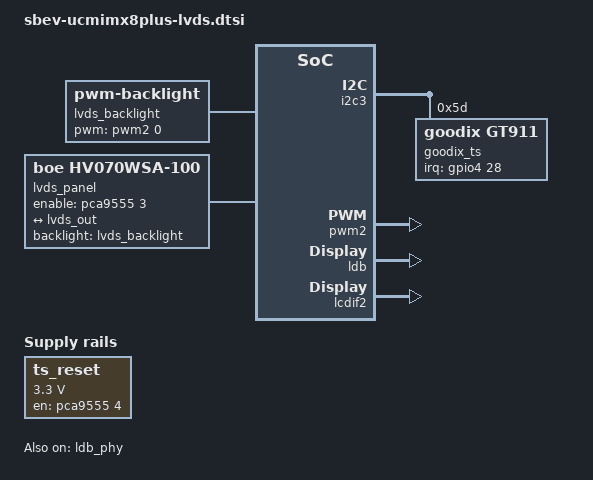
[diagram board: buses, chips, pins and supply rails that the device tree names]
// SPDX-License-Identifier: (GPL-2.0+ OR MIT)
/*
 * Copyright 2024 CompuLab LTD.
 */

&{/} {
	lvds_backlight: lvds_backlight {
		compatible = "pwm-backlight";
		pwms = <&pwm2 0 300000 0>;
		brightness-levels = <96 255>;
		num-interpolated-steps = <12>;
		default-brightness-level = <10>;
		status = "okay";
	};

	lvds_panel: lvds0_panel {
		compatible = "boe,hv070wsa-100";
		backlight = <&lvds_backlight>;
		enable-gpios = <&pca9555 3 GPIO_ACTIVE_HIGH>;
		status = "okay";

		port {
			panel_lvds_in: endpoint {
				remote-endpoint = <&lvds_out>;
			};
		};
	};

	/* touch screen reset helper */
	ts_reset: regulator-tsreset {
		compatible = "regulator-fixed";
		regulator-name = "tosuch-reset";
		regulator-min-microvolt = <3300000>;
		regulator-max-microvolt = <3300000>;
		gpio = <&pca9555 4 GPIO_ACTIVE_HIGH>;
		enable-active-high;
		regulator-always-on;
	};
};

&i2c3 {
	#address-cells = <1>;
	#size-cells = <0>;
	status = "okay";

	goodix_ts@5d {
		compatible = "goodix,gt911";
		reg = <0x5d>;

		interrupt-parent = <&gpio4>;
		interrupts = <28 IRQ_TYPE_LEVEL_HIGH>;

		pinctrl-names = "default";
		pinctrl-0 = <&touchscreen1_pins>;

		irq-gpios = <&gpio4 28 GPIO_ACTIVE_HIGH>;
/* To be investigated; the drived does not take the device
 * out of reset if reset-gpios is defined inside the device node
 * as of now the ts_reset regulator allows working with the device
 */
		/* reset-gpios = <&pca9555 4 GPIO_ACTIVE_HIGH>; */
		status = "okay";
	};
};

&iomuxc {

	pinctrl_pwm2: pwm2grp {
		fsl,pins = <
			MX8MP_IOMUXC_SPDIF_RX__PWM2_OUT		0x116
		 >;
	};

	touchscreen1_pins: ts1grp {
		fsl,pins = <
			MX8MP_IOMUXC_SAI3_RXFS__GPIO4_IO28	0x19
		>;
	};
};

&pwm2 {
	pinctrl-names = "default";
	pinctrl-0 = <&pinctrl_pwm2>;
	status = "okay";
};

&lvds_backlight {
	status = "okay";
};

&lvds_panel {
	status = "okay";
};

&ldb {
	#address-cells = <1>;
	#size-cells = <0>;
	status = "okay";

	lvds-channel@0 {
		#address-cells = <1>;
		#size-cells = <0>;
		fsl,data-mapping = "spwg";
		fsl,data-width = <24>;
		status = "okay";

		port@1 {
			reg = <1>;

			lvds_out: endpoint {
				remote-endpoint = <&panel_lvds_in>;
			};
		};
	};
};

&ldb_phy {
	status = "okay";
};

&lcdif2 {
	status = "okay";
};
